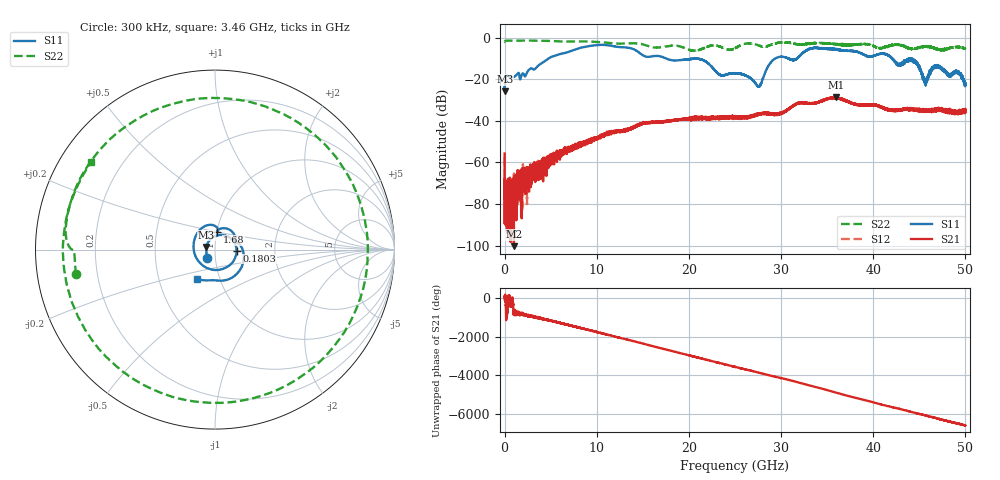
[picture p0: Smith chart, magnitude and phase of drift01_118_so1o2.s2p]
!Created with skrf (http://scikit-rf.org).
# Hz S RI R 50.0
!freq ReS11 ImS11 ReS21 ImS21 ReS12 ImS12 ReS22 ImS22
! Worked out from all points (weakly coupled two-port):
!   10001 points, 300 kHz to 50 GHz, reference 50 ohm
!   highest |S21| = -28.74 dB at 36 GHz (marker M1); lowest = -100.2 dB at 1.01 GHz (marker M2)
!   lowest |S11| = -25.8 dB at 5.3 MHz (marker M3), VSWR 1.11, Z = 45.3 + j1.37 ohm
!   |S11| at or under -10 dB: start of sweep to 4.768 GHz; 17.53 GHz to 29.37 GHz (11.84 GHz wide, 50.5 % of centre); 44.16 GHz to end of sweep (the widest 3 of 13)
!   |S22| runs from -6.4 to -1.4 dB; largest |S21 - S12| = 0.0035
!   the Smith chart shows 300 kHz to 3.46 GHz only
!   S11 on the Smith chart (normalised r, x): 300 kHz: 0.91, -0.08; 180.3 MHz: 1.27, -0.01; 1.68 GHz: 1.01, +0.20; 3.46 GHz: 0.78, -0.26
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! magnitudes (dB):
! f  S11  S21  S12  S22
! 300 kHz  -23.9  -55.7  -57.3  -2.1
! 5.3 MHz  -25.8  -72.0  -73.8  -2.1
! 180.3 MHz  -18.4  -84.9  -72.1  -1.4
! 1.01 GHz  -18.9  -100.2  -75.2  -1.4
! 1.68 GHz  -20.1  -70.1  -66.3  -1.4
! 3.46 GHz  -14.3  -62.9  -61.7  -1.5
! 8.335 GHz  -4.8  -52.0  -51.2  -1.8
! 16.67 GHz  -8.8  -40.6  -40.8  -4.8
! 21.23 GHz  -10.4  -38.2  -38.7  -5.7
! 23.39 GHz  -17.9  -38.6  -38.3  -4.3
! 25 GHz  -17.0  -37.9  -38.0  -5.1
! 27.59 GHz  -23.4  -37.1  -36.7  -3.8
! 29.28 GHz  -10.3  -36.9  -36.9  -2.9
! 31.47 GHz  -10.7  -32.5  -32.4  -2.8
! 33.34 GHz  -5.1  -31.7  -31.6  -2.7
! 36 GHz  -5.6  -28.7  -29.0  -3.2
! 41.67 GHz  -8.7  -34.6  -34.8  -4.1
! 42.8 GHz  -12.8  -34.7  -34.9  -3.6
! 44.42 GHz  -11.7  -35.0  -34.7  -5.3
! 45.63 GHz  -21.0  -35.0  -35.4  -4.3
! 46.97 GHz  -13.6  -34.8  -34.3  -5.6
! 50 GHz  -22.1  -35.6  -35.2  -5.4
